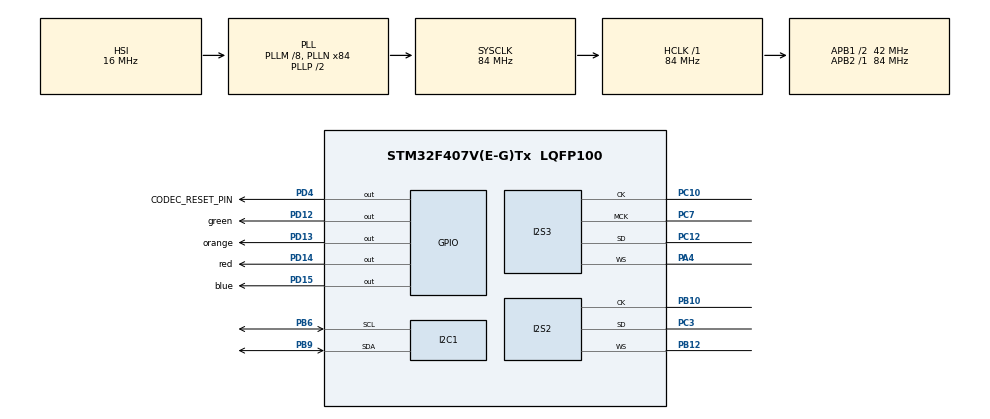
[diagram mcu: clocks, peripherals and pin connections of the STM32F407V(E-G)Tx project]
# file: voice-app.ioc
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Dma.Request0=SPI3_TX
Dma.Request1=SPI2_RX
Dma.SPI2_RX.1.Direction=DMA_PERIPH_TO_MEMORY
Dma.SPI2_RX.1.FIFOMode=DMA_FIFOMODE_DISABLE
Dma.SPI2_RX.1.Instance=DMA1_Stream3
Dma.SPI2_RX.1.MemDataAlignment=DMA_MDATAALIGN_WORD
Dma.SPI2_RX.1.MemInc=DMA_MINC_ENABLE
Dma.SPI2_RX.1.Mode=DMA_CIRCULAR
Dma.SPI2_RX.1.PeriphDataAlignment=DMA_PDATAALIGN_WORD
Dma.SPI2_RX.1.PeriphInc=DMA_PINC_DISABLE
Dma.SPI2_RX.1.Priority=DMA_PRIORITY_HIGH
Dma.SPI3_TX.0.Direction=DMA_MEMORY_TO_PERIPH
Dma.SPI3_TX.0.FIFOMode=DMA_FIFOMODE_DISABLE
Dma.SPI3_TX.0.Instance=DMA1_Stream5
Dma.SPI3_TX.0.MemDataAlignment=DMA_MDATAALIGN_WORD
Dma.SPI3_TX.0.MemInc=DMA_MINC_ENABLE
Dma.SPI3_TX.0.Mode=DMA_CIRCULAR
Dma.SPI3_TX.0.PeriphDataAlignment=DMA_PDATAALIGN_WORD
Dma.SPI3_TX.0.PeriphInc=DMA_PINC_DISABLE
Dma.SPI3_TX.0.Priority=DMA_PRIORITY_HIGH
FREERTOS.Tasks01=microphoneTask,24,128,_microphone_task,Default,NULL,Dynamic,NULL,NULL;signalProcess,24,128,_signal_processing_task,Default,NULL,Dynamic,NULL,NULL;speakerTask,24,128,_speaker_task,Default,NULL,Dynamic,NULL,NULL
I2S2.AudioFreq=I2S_AUDIOFREQ_8K
I2S2.DataFormat=I2S_DATAFORMAT_24B
I2S2.ErrorAudioFreq=-0.12 %
I2S2.FullDuplexMode=I2S_FULLDUPLEXMODE_DISABLE
I2S2.Instance=SPI$Index
I2S2.Mode=I2S_MODE_MASTER_RX
I2S2.RealAudioFreq=7.99 KHz
I2S2.Standard=I2S_STANDARD_MSB
I2S2.VirtualMode=I2S_MODE_MASTER
I2S3.AudioFreq=I2S_AUDIOFREQ_8K
I2S3.DataFormat=I2S_DATAFORMAT_24B
I2S3.ErrorAudioFreq=-0.12 %
I2S3.FullDuplexMode=I2S_FULLDUPLEXMODE_DISABLE
I2S3.Instance=SPI$Index
I2S3.RealAudioFreq=7.99 KHz
I2S3.Standard=I2S_STANDARD_MSB
I2S3.VirtualMode=I2S_MODE_MASTER
Mcu.Family=STM32F4
Mcu.Name=STM32F407V(E-G)Tx
Mcu.Package=LQFP100
NVIC.DMA1_Stream3_IRQn=true\:5\:0\:false\:false\:true\:true\:false\:true\:true
NVIC.DMA1_Stream5_IRQn=true\:5\:0\:false\:false\:true\:true\:false\:true\:true
NVIC.PriorityGroup=NVIC_PRIORITYGROUP_4
PA4.Mode=Half_Duplex_Master
PA4.Signal=I2S3_WS
PB10.Mode=Half_Duplex_Master
PB10.Signal=I2S2_CK
PB12.Mode=Half_Duplex_Master
PB12.Signal=I2S2_WS
PB6.Mode=I2C
PB6.Signal=I2C1_SCL
PB9.Mode=I2C
PB9.Signal=I2C1_SDA
PC10.Mode=Half_Duplex_Master
PC10.Signal=I2S3_CK
PC12.Mode=Half_Duplex_Master
PC12.Signal=I2S3_SD
PC3.Mode=Half_Duplex_Master
PC3.Signal=I2S2_SD
PC7.Mode=Master_Clock_Activated
PC7.Signal=I2S3_MCK
PD12.GPIO_Label=green
PD12.Signal=GPIO_Output
PD13.GPIO_Label=orange
PD13.Signal=GPIO_Output
PD14.GPIO_Label=red
PD14.Signal=GPIO_Output
PD15.GPIO_Label=blue
PD15.Signal=GPIO_Output
PD4.GPIO_Label=CODEC_RESET_PIN
PD4.Signal=GPIO_Output
ProjectManager.HeapSize=0x200
ProjectManager.StackSize=0x400
ProjectManager.TargetToolchain=STM32CubeIDE
RCC.48MHZClocksFreq_Value=42000000
RCC.AHBFreq_Value=84000000
RCC.APB1CLKDivider=RCC_HCLK_DIV2
RCC.APB1Freq_Value=42000000
RCC.APB1TimFreq_Value=84000000
RCC.APB2Freq_Value=84000000
RCC.APB2TimFreq_Value=84000000
RCC.CortexFreq_Value=84000000
RCC.HCLKFreq_Value=84000000
RCC.HSE_VALUE=25000000
RCC.HSI_VALUE=16000000
RCC.LSE_VALUE=32768
RCC.PLLI2SN=180
RCC.PLLM=8
RCC.PLLN=84
RCC.SYSCLKFreq_VALUE=84000000
RCC.SYSCLKSource=RCC_SYSCLKSOURCE_PLLCLK
RCC.VCOOutputFreq_Value=168000000
STMicroelectronics.X-CUBE-ALGOBUILD.1.4.0.LibraryCcDSPOoLibraryJjDSPOoLibrary=true
VP_FREERTOS_VS_CMSIS_V2.Mode=CMSIS_V2
VP_STMicroelectronics.X-CUBE-ALGOBUILD_VS_DSPOoLibraryJjLibrary_1.4.0_1.4.0.Mode=DSPOoLibraryJjLibrary
board=custom

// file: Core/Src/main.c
/* USER CODE BEGIN Header */
/**
  ******************************************************************************
  * @file           : main.c
  * @brief          : Main program body
  ******************************************************************************
  * @attention
  *
  * Copyright (c) 2024 STMicroelectronics.
  * All rights reserved.
  *
  * This software is licensed under terms that can be found in the LICENSE file
  * in the root directory of this software component.
  * If no LICENSE file comes with this software, it is provided AS-IS.
  *
  ******************************************************************************
  */
/* USER CODE END Header */
#include "main.h"
#include "cmsis_os.h"
#include "dma.h"
#include "i2c.h"
#include "i2s.h"
#include "gpio.h"

/* USER CODE BEGIN Includes */
#include "cs43l22.h"
#include "microphone-task-notification.h"
#include "speaker-task/speaker-task-notification.h"
#include "signal-processing-task/signal-processing-task-notification.h"
/* USER CODE END Includes */

void SystemClock_Config(void);
void PeriphCommonClock_Config(void);
void MX_FREERTOS_Init(void);

int main(void)
{

  /* MCU Configuration--------------------------------------------------------*/

  /* Reset of all peripherals, Initializes the Flash interface and the Systick. */
  HAL_Init();

  /* Configure the system clock */
  SystemClock_Config();

  /* Configure the peripherals common clocks */
  PeriphCommonClock_Config();

  /* Initialize all configured peripherals */
  MX_GPIO_Init();
  MX_DMA_Init();
  MX_I2C1_Init();
  MX_I2S2_Init();
  MX_I2S3_Init();
  /* USER CODE BEGIN 2 */

  if(!init_signal_processing_task_notification()){
    Error_Handler();
  }
  if(!init_microphone_task_notification()){
    Error_Handler();
  }
  if(!init_speaker_task_notification()){
    Error_Handler();
  }

  /* USER CODE END 2 */

  /* Init scheduler */
  osKernelInitialize();

  /* Call init function for freertos objects (in cmsis_os2.c) */
  MX_FREERTOS_Init();

  /* Start scheduler */
  osKernelStart();

  /* We should never get here as control is now taken by the scheduler */

  /* Infinite loop */
  while (1)
  {

  }
}

void SystemClock_Config(void)
{
  RCC_OscInitTypeDef RCC_OscInitStruct = {0};
  RCC_ClkInitTypeDef RCC_ClkInitStruct = {0};

  /** Configure the main internal regulator output voltage
  */
  __HAL_RCC_PWR_CLK_ENABLE();
  __HAL_PWR_VOLTAGESCALING_CONFIG(PWR_REGULATOR_VOLTAGE_SCALE1);

  /** Initializes the RCC Oscillators according to the specified parameters
  * in the RCC_OscInitTypeDef structure.
  */
  RCC_OscInitStruct.OscillatorType = RCC_OSCILLATORTYPE_HSI;
  RCC_OscInitStruct.HSIState = RCC_HSI_ON;
  RCC_OscInitStruct.HSICalibrationValue = RCC_HSICALIBRATION_DEFAULT;
  RCC_OscInitStruct.PLL.PLLState = RCC_PLL_ON;
  RCC_OscInitStruct.PLL.PLLSource = RCC_PLLSOURCE_HSI;
  RCC_OscInitStruct.PLL.PLLM = 8;
  RCC_OscInitStruct.PLL.PLLN = 84;
  RCC_OscInitStruct.PLL.PLLP = RCC_PLLP_DIV2;
  RCC_OscInitStruct.PLL.PLLQ = 4;
  if (HAL_RCC_OscConfig(&RCC_OscInitStruct) != HAL_OK)
  {
    Error_Handler();
  }

  /** Initializes the CPU, AHB and APB buses clocks
  */
  RCC_ClkInitStruct.ClockType = RCC_CLOCKTYPE_HCLK|RCC_CLOCKTYPE_SYSCLK
                              |RCC_CLOCKTYPE_PCLK1|RCC_CLOCKTYPE_PCLK2;
  RCC_ClkInitStruct.SYSCLKSource = RCC_SYSCLKSOURCE_PLLCLK;
  RCC_ClkInitStruct.AHBCLKDivider = RCC_SYSCLK_DIV1;
  RCC_ClkInitStruct.APB1CLKDivider = RCC_HCLK_DIV2;
  RCC_ClkInitStruct.APB2CLKDivider = RCC_HCLK_DIV1;

  if (HAL_RCC_ClockConfig(&RCC_ClkInitStruct, FLASH_LATENCY_2) != HAL_OK)
  {
    Error_Handler();
  }
}

void PeriphCommonClock_Config(void)
{
  RCC_PeriphCLKInitTypeDef PeriphClkInitStruct = {0};

  /** Initializes the peripherals clock
  */
  PeriphClkInitStruct.PeriphClockSelection = RCC_PERIPHCLK_I2S;
  PeriphClkInitStruct.PLLI2S.PLLI2SN = 180;
  PeriphClkInitStruct.PLLI2S.PLLI2SR = 2;
  if (HAL_RCCEx_PeriphCLKConfig(&PeriphClkInitStruct) != HAL_OK)
  {
    Error_Handler();
  }
}

void Error_Handler(void)
{
  __disable_irq();
  while (1)
  {
  }
}

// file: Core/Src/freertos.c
/* USER CODE BEGIN Header */
/**
  ******************************************************************************
  * File Name          : freertos.c
  * Description        : Code for freertos applications
  ******************************************************************************
  * @attention
  *
  * Copyright (c) 2024 STMicroelectronics.
  * All rights reserved.
  *
  * This software is licensed under terms that can be found in the LICENSE file
  * in the root directory of this software component.
  * If no LICENSE file comes with this software, it is provided AS-IS.
  *
  ******************************************************************************
  */
/* USER CODE END Header */

#include "FreeRTOS.h"
#include "task.h"
#include "main.h"
#include "cmsis_os.h"

/* USER CODE BEGIN Includes */
#include "speaker-task/speaker_task.h"
#include "signal-processing-task/signal_processing.h"
#include "microphone-task/microphone_task.h"
/* USER CODE END Includes */

/* Definitions for microphoneTask */
osThreadId_t microphoneTaskHandle;
const osThreadAttr_t microphoneTask_attributes = {
  .name = "microphoneTask",
  .stack_size = 128 * 4,
  .priority = (osPriority_t) osPriorityNormal,
};
/* Definitions for signalProcess */
osThreadId_t signalProcessHandle;
const osThreadAttr_t signalProcess_attributes = {
  .name = "signalProcess",
  .stack_size = 128 * 4,
  .priority = (osPriority_t) osPriorityNormal,
};
/* Definitions for speakerTask */
osThreadId_t speakerTaskHandle;
const osThreadAttr_t speakerTask_attributes = {
  .name = "speakerTask",
  .stack_size = 128 * 4,
  .priority = (osPriority_t) osPriorityNormal,
};

void _microphone_task(void *argument);
void _signal_processing_task(void *argument);
void _speaker_task(void *argument);

void MX_FREERTOS_Init(void); /* (MISRA C 2004 rule 8.1) */

void MX_FREERTOS_Init(void) {

  /* Create the thread(s) */
  /* creation of microphoneTask */
  microphoneTaskHandle = osThreadNew(_microphone_task, NULL, &microphoneTask_attributes);

  /* creation of signalProcess */
  signalProcessHandle = osThreadNew(_signal_processing_task, NULL, &signalProcess_attributes);

  /* creation of speakerTask */
  speakerTaskHandle = osThreadNew(_speaker_task, NULL, &speakerTask_attributes);

  /* USER CODE BEGIN RTOS_THREADS */
//////  /* add threads, ... */
  /* USER CODE END RTOS_THREADS */

}

void _microphone_task(void *argument)
{
  /* USER CODE BEGIN _microphone_task */
  /* Infinite loop */
  microphone_task(argument);
  /* USER CODE END _microphone_task */
}

void _signal_processing_task(void *argument)
{
  /* USER CODE BEGIN _signal_processing_task */
  /* Infinite loop */
  signal_processing_task(argument);
  /* USER CODE END _signal_processing_task */
}

void _speaker_task(void *argument)
{
  /* USER CODE BEGIN _speaker_task */
  /* Infinite loop */
  speaker_task(argument);
  /* USER CODE END _speaker_task */
}
